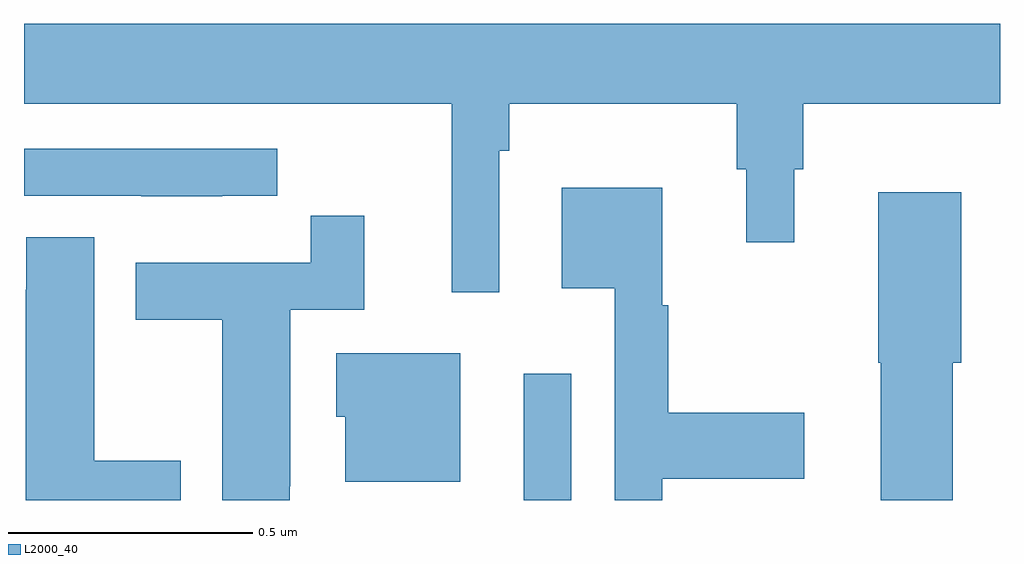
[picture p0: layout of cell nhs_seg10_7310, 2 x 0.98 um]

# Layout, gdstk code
import gdstk
lib = gdstk.Library(unit=1e-6, precision=1e-09)
def R(c, l, rs):  # rectangles x0, y0, x1, y1
    for r in rs: c.add(gdstk.rectangle(r[:2], r[2:], *l))
def P(c, l, *ps):  # polygons
    for p in ps: c.add(gdstk.Polygon(p, *l))
L2000_40 = (2000, 40)

nhs_seg10_7310 = lib.new_cell('nhs_seg10_7310')
R(nhs_seg10_7310, L2000_40, [(203.024,1303.5,203.121,1303.759)])
P(nhs_seg10_7310, L2000_40, [(202,1304.312),(202.877,1304.312),(202.877,1303.926),(202.974,1303.926),(202.974,1304.216),(202.994,1304.216),(202.994,1304.312),(203.461,1304.312),(203.461,1304.178),(203.48,1304.178),(203.48,1304.028),(203.578,1304.028),(203.578,1304.178),(203.597,1304.178),(203.597,1304.312),(204,1304.312),(204,1304.476),(202,1304.476)],
  [(202.406,1304.124),(202.519,1304.124),(202.519,1304.22),(202,1304.22),(202,1304.124),(202.24,1304.124),(202.24,1304.123),(202.406,1304.123)],
  [(203.308,1303.544),(203.599,1303.544),(203.599,1303.679),(203.32,1303.679),(203.32,1303.899),(203.308,1303.899),(203.308,1304.14),(203.102,1304.14),(203.102,1303.934),(203.211,1303.934),(203.211,1303.5),(203.308,1303.5)],
  [(203.903,1303.782),(203.921,1303.782),(203.921,1304.131),(203.75,1304.131),(203.75,1303.782),(203.756,1303.782),(203.756,1303.5),(203.903,1303.5)],
  [(202.545,1303.528),(202.546,1303.528),(202.546,1303.89),(202.697,1303.89),(202.697,1304.083),(202.588,1304.083),(202.588,1303.986),(202.229,1303.986),(202.229,1303.87),(202.406,1303.87),(202.406,1303.5),(202.545,1303.5)],
  [(202.321,1303.581),(202.144,1303.581),(202.144,1304.039),(202.005,1304.039),(202.005,1303.931),(202.004,1303.931),(202.004,1303.5),(202.321,1303.5)],
  [(202.894,1303.801),(202.64,1303.801),(202.64,1303.671),(202.658,1303.671),(202.658,1303.538),(202.894,1303.538)])

lib.write_gds('nhs_seg10_7310.gds')
